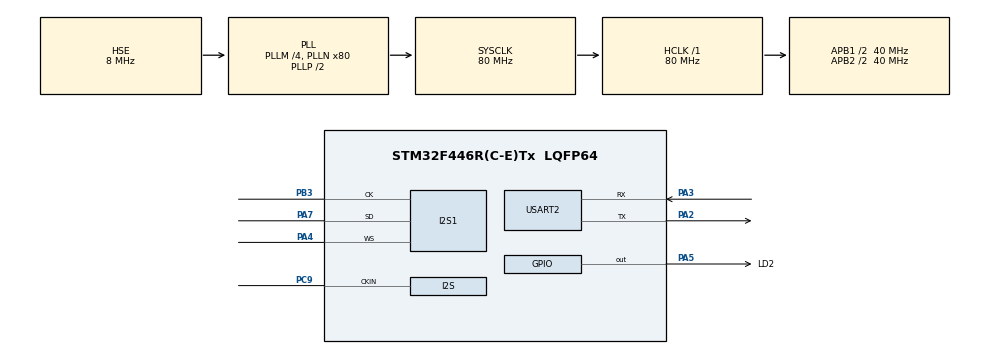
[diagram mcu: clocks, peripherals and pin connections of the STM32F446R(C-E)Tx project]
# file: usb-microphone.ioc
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Dma.Request0=SPI1_RX
Dma.SPI1_RX.0.Direction=DMA_PERIPH_TO_MEMORY
Dma.SPI1_RX.0.FIFOMode=DMA_FIFOMODE_DISABLE
Dma.SPI1_RX.0.Instance=DMA2_Stream0
Dma.SPI1_RX.0.MemDataAlignment=DMA_MDATAALIGN_WORD
Dma.SPI1_RX.0.MemInc=DMA_MINC_ENABLE
Dma.SPI1_RX.0.Mode=DMA_CIRCULAR
Dma.SPI1_RX.0.PeriphDataAlignment=DMA_PDATAALIGN_WORD
Dma.SPI1_RX.0.PeriphInc=DMA_PINC_DISABLE
Dma.SPI1_RX.0.Priority=DMA_PRIORITY_LOW
I2S1.AudioFreq=I2S_AUDIOFREQ_16K
I2S1.ClockSource-Half_Duplex_Master=I2S_CLOCK_PLL
I2S1.DataFormat=I2S_DATAFORMAT_24B
I2S1.ErrorAudioFreq=-2.34 %
I2S1.FullDuplexMode=I2S_FULLDUPLEXMODE_DISABLE
I2S1.Instance=SPI$Index
I2S1.Mode=I2S_MODE_MASTER_RX
I2S1.RealAudioFreq=15.625 KHz
I2S1.VirtualMode=I2S_MODE_MASTER
Mcu.Family=STM32F4
Mcu.Name=STM32F446R(C-E)Tx
Mcu.Package=LQFP64
NVIC.DMA2_Stream0_IRQn=true\:0\:0\:false\:false\:true\:false\:true
NVIC.PriorityGroup=NVIC_PRIORITYGROUP_4
PA2.Mode=Asynchronous
PA2.Signal=USART2_TX
PA3.Mode=Asynchronous
PA3.Signal=USART2_RX
PA4.Mode=Half_Duplex_Master
PA4.Signal=I2S1_WS
PA5.GPIO_Label=LD2
PA5.Signal=GPIO_Output
PA7.Mode=Half_Duplex_Master
PA7.Signal=I2S1_SD
PB3.Mode=Half_Duplex_Master
PB3.Signal=I2S1_CK
PC14-OSC32_IN.Mode=LSE-External-Oscillator
PC14-OSC32_IN.Signal=RCC_OSC32_IN
PC15-OSC32_OUT.Mode=LSE-External-Oscillator
PC15-OSC32_OUT.Signal=RCC_OSC32_OUT
PC9.Mode=Audio_ClockIn
PC9.Signal=I2S_CKIN
PH0-OSC_IN.Mode=HSE-External-Oscillator
PH0-OSC_IN.Signal=RCC_OSC_IN
PH1-OSC_OUT.Mode=HSE-External-Oscillator
PH1-OSC_OUT.Signal=RCC_OSC_OUT
ProjectManager.HeapSize=0x4000
ProjectManager.StackSize=0x1000
ProjectManager.TargetToolchain=MDK-ARM V5.27
RCC.AHBFreq_Value=80000000
RCC.APB1CLKDivider=RCC_HCLK_DIV2
RCC.APB1Freq_Value=40000000
RCC.APB1TimFreq_Value=80000000
RCC.APB2CLKDivider=RCC_HCLK_DIV2
RCC.APB2Freq_Value=40000000
RCC.APB2TimFreq_Value=80000000
RCC.CortexFreq_Value=80000000
RCC.HCLKFreq_Value=80000000
RCC.HSE_VALUE=8000000
RCC.I2S2CLockSelection=RCC_I2SAPB2CLKSOURCE_PLLSRC
RCC.PLLI2SM=4
RCC.PLLI2SN=50
RCC.PLLM=4
RCC.PLLN=80
RCC.PLLQ=7
RCC.PLLSAIM=4
RCC.PLLSAIN=96
RCC.PLLSAIP=RCC_PLLSAIP_DIV4
RCC.PLLSourceVirtual=RCC_PLLSOURCE_HSE
RCC.SYSCLKFreq_VALUE=80000000
RCC.SYSCLKSource=RCC_SYSCLKSOURCE_PLLCLK
RCC.USBCLockSelection=RCC_CLK48CLKSOURCE_PLLSAIP
RCC.USBFreq_Value=48000000
RCC.VCOOutputFreq_Value=160000000
USART2.VirtualMode=VM_ASYNC
board=custom

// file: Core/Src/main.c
/* USER CODE BEGIN Header */
/**
  ******************************************************************************
  * @file           : main.c
  * @brief          : Main program body
  ******************************************************************************
  * @attention
  *
  * <h2><center>&copy; Copyright (c) 2021 STMicroelectronics.
  * All rights reserved.</center></h2>
  *
  * This software component is licensed by ST under BSD 3-Clause license,
  * the "License"; You may not use this file except in compliance with the
  * License. You may obtain a copy of the License at:
  *                        opensource.org/licenses/BSD-3-Clause
  *
  ******************************************************************************
  */
/* USER CODE END Header */
#include "main.h"

/* USER CODE BEGIN Includes */
#include <stdbool.h>
#include <stdlib.h>
#include <stdio.h>
#include <stdarg.h>
#include <string.h>
#include <math.h>
/* USER CODE END Includes */

I2S_HandleTypeDef hi2s1;
DMA_HandleTypeDef hdma_spi1_rx;

UART_HandleTypeDef huart2;

/* USER CODE BEGIN PV */

#define MIC_SAMPLE_FREQUENCY 8000
#define MIC_SAMPLES_PER_MS (MIC_SAMPLE_FREQUENCY/1000)  // ==8 //== 48
#define MIC_NUM_CHANNELS 1
#define MIC_MS_PER_PACKET 120//120    //20
#define MIC_SAMPLES_PER_PACKET (MIC_SAMPLES_PER_MS * MIC_MS_PER_PACKET) // ==160 //== 960

// 20ms of 64 bit samples
// allocate buffers
volatile int32_t _sampleBuffer[MIC_SAMPLES_PER_PACKET * 2];// 7680 bytes (*2 because samples are 64 bit)
int16_t _processBuffer[MIC_SAMPLES_PER_PACKET];            // 1920 bytes
int16_t _sendBuffer[MIC_SAMPLES_PER_PACKET];               // 1920 bytes

bool _running = false;

void ei_printf(const char *format, ...);
void vprint(const char *fmt, va_list argp);

/* USER CODE END PV */

void SystemClock_Config(void);
static void MX_GPIO_Init(void);
static void MX_DMA_Init(void);
static void MX_I2S1_Init(void);
static void MX_USART2_UART_Init(void);

/* USER CODE BEGIN 0 */

/**
 * Constructor
 */
void Audio_init() {
  // initialise variables

  // set LR to low (it's pulled low anyway)
  //HAL_GPIO_WritePin(LR_GPIO_Port, LR_Pin, GPIO_PIN_RESET);
}

/**
 * Start the I2S DMA transfer (called from usbd_audio_if.cpp)
 */
int8_t Audio_start() {

  HAL_StatusTypeDef status;

  // HAL_I2S_Receive_DMA will multiply the size by 2 because the standard is 24 bit Philips.

  if ((status = HAL_I2S_Receive_DMA(&hi2s1, (uint16_t*) _sampleBuffer, MIC_SAMPLES_PER_PACKET)) == HAL_OK) {
    _running = true;
  }

  return status;
}

/**
 * Stop the I2S DMA transfer
 */
int8_t Audio_stop() {

  HAL_StatusTypeDef status;

  if ((status = HAL_I2S_DMAStop(&hi2s1)) == HAL_OK) {
    _running = false;
  }
  return status;
}

/**
 * Pause I2S DMA transfer (soft-mute)
 */
int8_t Audio_pause() {

  HAL_StatusTypeDef status;

  if ((status = HAL_I2S_DMAPause(&hi2s1)) == HAL_OK) {
    _running = false;
  }

  return status;
}

/**
 * Resume I2S DMA transfer
 */
int8_t Audio_resume() {

  HAL_StatusTypeDef status;

  if ((status = HAL_I2S_DMAResume(&hi2s1)) == HAL_OK) {
    _running = true;
  }
  return status;
}

/**
 * 1. Transform the I2S data into 16 bit PCM samples in a holding buffer
 * 2. Use the ST GREQ library to apply a graphic equaliser filter
 * 3. Use the ST SVC library to adjust the gain (volume)
 * 4. Transmit over USB to the host
 *
 * We've got 10ms to complete this method before the next DMA transfer will be ready.
 */
void sendData(volatile int32_t *data_in, int16_t *data_out) {

  // only do anything at all if we're connected

  if (_running) {

    if (0) {

      // we're muted so zero this half of the send buffer. this works around Windows/Citrix habit
      // of disconnecting the device if the stream of sample data suddenly pauses.
			for (uint16_t i = 0; i < MIC_SAMPLES_PER_PACKET / 2; i++) {
				data_out[i] = 0;
			}

    } else {

      // transform the I2S samples from the 64 bit L/R (32 bits per side) of which we
      // only have data in the L side. Take the most significant 16 bits, being careful
      // to respect the sign bit.

      int16_t *dest = _processBuffer;

      for (uint16_t i = 0; i < MIC_SAMPLES_PER_PACKET / 2; i++) {

        // dither the LSB with a random bit

        int16_t sample = (data_in[0] & 0xfffffffe) | (rand() & 1);

        *dest++ = sample;     // left channel has data
        *dest++ = sample;     // right channel is duplicated from the left
        data_in += 2;
      }

      // apply the graphic equaliser filters using the ST GREQ library then
      // adjust the gain (volume) using the ST SVC library

      //_graphicEqualiser.process(_processBuffer, MIC_SAMPLES_PER_PACKET / 2);
      //_volumeControl.process(_processBuffer, MIC_SAMPLES_PER_PACKET / 2);

      // we only want the left channel from the processed buffer

      int16_t *src = _processBuffer;
      dest = data_out;

      for (uint16_t i = 0; i < MIC_SAMPLES_PER_PACKET / 2; i++) {
        *dest++ = *src;
        src += 2;
      }
    }

    // send the adjusted data to the host

//    if (USBD_AUDIO_Data_Transfer(&hUsbDeviceFS, data_out, MIC_SAMPLES_PER_PACKET / 2) != USBD_OK) {
//      Error_Handler();
//    }

#if 0
		//FIXME: if printf time is too long, it will block the main thread, not good
		for (uint16_t i = 0; i < MIC_SAMPLES_PER_PACKET / 2; ++i) {
			ei_printf("%d,%d,%d\r\n", 256 * 4, -256 * 4, data_out[i]);
		}
#else
	int maxValue = 0;
		for (uint32_t i = 0; i < MIC_SAMPLES_PER_PACKET / 2; i++) {
    int16_t value = data_out[i];
		if (fabs((double)value) > fabs((double)maxValue)) {
			maxValue = value;
		}
		//ei_printf("%d,%d,%d\r\n", 256*128, -256*128, value);
	}
	ei_printf("%d,%d,%d\r\n", 256 * 8, -256 * 8, maxValue);
#endif
  }
}

/**
 * Override the I2S DMA half-complete HAL callback to process the first MIC_MS_PER_PACKET/2 milliseconds
 * of the data while the DMA device continues to run onward to fill the second half of the buffer.
 */
void i2s_halfComplete() {
  sendData(_sampleBuffer, _sendBuffer);
}

/**
 * Override the I2S DMA complete HAL callback to process the second MIC_MS_PER_PACKET/2 milliseconds
 * of the data while the DMA in circular mode wraps back to the start of the buffer
 */
void i2s_complete() {
  sendData(&_sampleBuffer[MIC_SAMPLES_PER_PACKET], &_sendBuffer[MIC_SAMPLES_PER_PACKET / 2]);
}

void HAL_I2S_RxHalfCpltCallback(I2S_HandleTypeDef *hi2s) {
  i2s_halfComplete();
}

void HAL_I2S_RxCpltCallback(I2S_HandleTypeDef *hi2s) {
  i2s_complete();
}

/**
 * @brief  Start audio recording engine
 * @retval BSP_ERROR_NONE in case of success, AUDIO_ERROR otherwise
 */
int8_t Record() {
  return Audio_start();
}

/**
 * @brief  Stops audio acquisition
 * @param  none
 * @retval BSP_ERROR_NONE in case of success, AUDIO_ERROR otherwise
 */
int8_t Stop() {
  return Audio_stop();
}

/**
 * @brief  Pauses audio acquisition
 * @param  none
 * @retval BSP_ERROR_NONE in case of success, AUDIO_ERROR otherwise
 */
int8_t Pause() {
  return Audio_pause();
}

/**
 * @brief  Resumes audio acquisition
 * @param  none
 * @retval BSP_ERROR_NONE in case of success, AUDIO_ERROR otherwise
 */
int8_t Resume() {
  return Audio_resume();
}

/**
 * Low-level print function that uses UART to print status messages.
 */
void vprint(const char *fmt, va_list argp)
{
  char string[200];
  if(0 < vsprintf(string, fmt, argp)) // build string
  {
		//!!!!!FIXME: don't use 0xffffff or HAL_MAX_DELAY as timeout, it will block the main thread!
		//FIXME: HAL_MAX_DELAY may be good
      HAL_UART_Transmit(&huart2, (uint8_t*)string, strlen(string), HAL_MAX_DELAY/*100*/);
  }
}

/**
 * Wrapper for vprint. Use this like you would printf to print messages to the serial console.
 */
void ei_printf(const char *format, ...)
{
  va_list myargs;
  va_start(myargs, format);
  vprint(format, myargs);
  va_end(myargs);
}

/* USER CODE END 0 */

int main(void)
{
  /* USER CODE BEGIN 1 */
	//int countWait = 0;
  /* USER CODE END 1 */

  /* MCU Configuration--------------------------------------------------------*/

  /* Reset of all peripherals, Initializes the Flash interface and the Systick. */
  HAL_Init();

  /* Configure the system clock */
  SystemClock_Config();

  /* Initialize all configured peripherals */
  MX_GPIO_Init();
  MX_DMA_Init();
  MX_I2S1_Init();
  MX_USART2_UART_Init();
  /* USER CODE BEGIN 2 */
	ei_printf("starting record...\r\n");
	Record();
  /* USER CODE END 2 */

  /* Infinite loop */
  /* USER CODE BEGIN WHILE */
  while (1)
  {
		HAL_Delay(1000);
		HAL_GPIO_TogglePin(LD2_GPIO_Port, LD2_Pin);
		//ei_printf("countWait == %d\r\n", countWait++);
    /* USER CODE END WHILE */

    /* USER CODE BEGIN 3 */
  }
	//Stop();
  /* USER CODE END 3 */
}

void SystemClock_Config(void)
{
  RCC_OscInitTypeDef RCC_OscInitStruct = {0};
  RCC_ClkInitTypeDef RCC_ClkInitStruct = {0};
  RCC_PeriphCLKInitTypeDef PeriphClkInitStruct = {0};

  /** Configure the main internal regulator output voltage
  */
  __HAL_RCC_PWR_CLK_ENABLE();
  __HAL_PWR_VOLTAGESCALING_CONFIG(PWR_REGULATOR_VOLTAGE_SCALE3);
  /** Initializes the RCC Oscillators according to the specified parameters
  * in the RCC_OscInitTypeDef structure.
  */
  RCC_OscInitStruct.OscillatorType = RCC_OSCILLATORTYPE_HSE;
  RCC_OscInitStruct.HSEState = RCC_HSE_ON;
  RCC_OscInitStruct.PLL.PLLState = RCC_PLL_ON;
  RCC_OscInitStruct.PLL.PLLSource = RCC_PLLSOURCE_HSE;
  RCC_OscInitStruct.PLL.PLLM = 4;
  RCC_OscInitStruct.PLL.PLLN = 80;
  RCC_OscInitStruct.PLL.PLLP = RCC_PLLP_DIV2;
  RCC_OscInitStruct.PLL.PLLQ = 7;
  RCC_OscInitStruct.PLL.PLLR = 2;
  if (HAL_RCC_OscConfig(&RCC_OscInitStruct) != HAL_OK)
  {
    Error_Handler();
  }
  /** Initializes the CPU, AHB and APB buses clocks
  */
  RCC_ClkInitStruct.ClockType = RCC_CLOCKTYPE_HCLK|RCC_CLOCKTYPE_SYSCLK
                              |RCC_CLOCKTYPE_PCLK1|RCC_CLOCKTYPE_PCLK2;
  RCC_ClkInitStruct.SYSCLKSource = RCC_SYSCLKSOURCE_PLLCLK;
  RCC_ClkInitStruct.AHBCLKDivider = RCC_SYSCLK_DIV1;
  RCC_ClkInitStruct.APB1CLKDivider = RCC_HCLK_DIV2;
  RCC_ClkInitStruct.APB2CLKDivider = RCC_HCLK_DIV2;

  if (HAL_RCC_ClockConfig(&RCC_ClkInitStruct, FLASH_LATENCY_2) != HAL_OK)
  {
    Error_Handler();
  }
  PeriphClkInitStruct.PeriphClockSelection = RCC_PERIPHCLK_I2S_APB2;
  PeriphClkInitStruct.I2sApb2ClockSelection = RCC_I2SAPB2CLKSOURCE_PLLSRC;
  if (HAL_RCCEx_PeriphCLKConfig(&PeriphClkInitStruct) != HAL_OK)
  {
    Error_Handler();
  }
}

static void MX_I2S1_Init(void)
{

  hi2s1.Instance = SPI1;
  hi2s1.Init.Mode = I2S_MODE_MASTER_RX;
  hi2s1.Init.Standard = I2S_STANDARD_PHILIPS;
  hi2s1.Init.DataFormat = I2S_DATAFORMAT_24B;
  hi2s1.Init.MCLKOutput = I2S_MCLKOUTPUT_DISABLE;
  hi2s1.Init.AudioFreq = I2S_AUDIOFREQ_16K;
  hi2s1.Init.CPOL = I2S_CPOL_LOW;
  hi2s1.Init.ClockSource = I2S_CLOCK_PLLSRC;
  hi2s1.Init.FullDuplexMode = I2S_FULLDUPLEXMODE_DISABLE;
  if (HAL_I2S_Init(&hi2s1) != HAL_OK)
  {
    Error_Handler();
  }

}

static void MX_USART2_UART_Init(void)
{

  huart2.Instance = USART2;
  huart2.Init.BaudRate = 115200;
  huart2.Init.WordLength = UART_WORDLENGTH_8B;
  huart2.Init.StopBits = UART_STOPBITS_1;
  huart2.Init.Parity = UART_PARITY_NONE;
  huart2.Init.Mode = UART_MODE_TX_RX;
  huart2.Init.HwFlowCtl = UART_HWCONTROL_NONE;
  huart2.Init.OverSampling = UART_OVERSAMPLING_16;
  if (HAL_UART_Init(&huart2) != HAL_OK)
  {
    Error_Handler();
  }

}

static void MX_DMA_Init(void)
{

  /* DMA controller clock enable */
  __HAL_RCC_DMA2_CLK_ENABLE();

  /* DMA interrupt init */
  /* DMA2_Stream0_IRQn interrupt configuration */
  HAL_NVIC_SetPriority(DMA2_Stream0_IRQn, 0, 0);
  HAL_NVIC_EnableIRQ(DMA2_Stream0_IRQn);

}

static void MX_GPIO_Init(void)
{
  GPIO_InitTypeDef GPIO_InitStruct = {0};

  /* GPIO Ports Clock Enable */
  __HAL_RCC_GPIOC_CLK_ENABLE();
  __HAL_RCC_GPIOH_CLK_ENABLE();
  __HAL_RCC_GPIOA_CLK_ENABLE();
  __HAL_RCC_GPIOB_CLK_ENABLE();

  /*Configure GPIO pin Output Level */
  HAL_GPIO_WritePin(LD2_GPIO_Port, LD2_Pin, GPIO_PIN_RESET);

  /*Configure GPIO pin : LD2_Pin */
  GPIO_InitStruct.Pin = LD2_Pin;
  GPIO_InitStruct.Mode = GPIO_MODE_OUTPUT_PP;
  GPIO_InitStruct.Pull = GPIO_NOPULL;
  GPIO_InitStruct.Speed = GPIO_SPEED_FREQ_LOW;
  HAL_GPIO_Init(LD2_GPIO_Port, &GPIO_InitStruct);

  /*Configure GPIO pin : PC9 */
  GPIO_InitStruct.Pin = GPIO_PIN_9;
  GPIO_InitStruct.Mode = GPIO_MODE_AF_PP;
  GPIO_InitStruct.Pull = GPIO_NOPULL;
  GPIO_InitStruct.Speed = GPIO_SPEED_FREQ_LOW;
  GPIO_InitStruct.Alternate = GPIO_AF5_SPI1;
  HAL_GPIO_Init(GPIOC, &GPIO_InitStruct);

}

void Error_Handler(void)
{
  __disable_irq();
  while (1)
  {
  }
}

/************************ (C) COPYRIGHT STMicroelectronics *****END OF FILE****/
